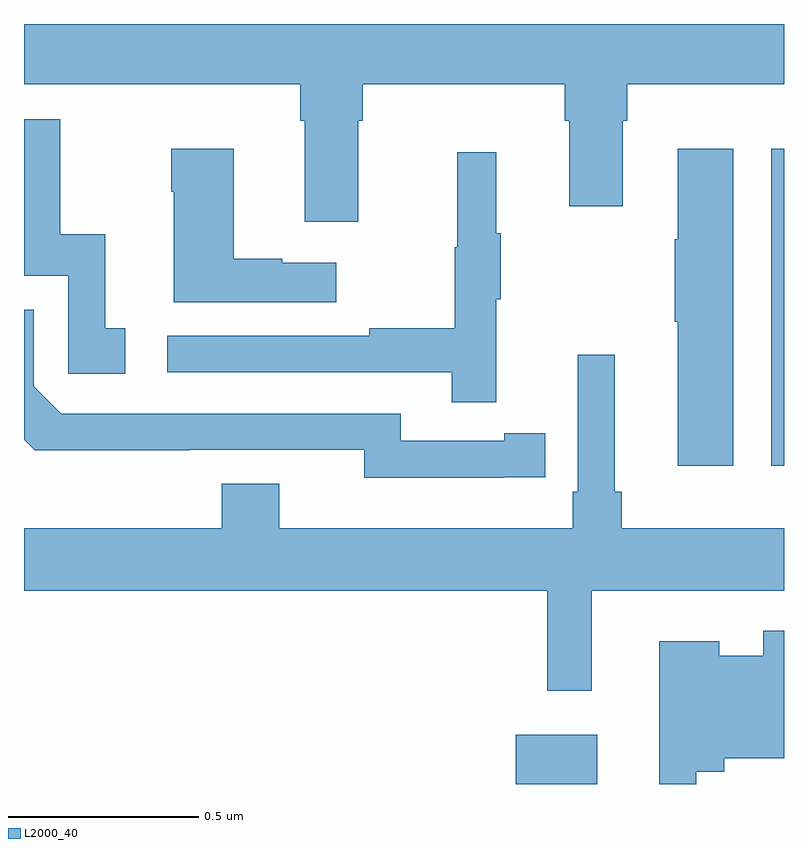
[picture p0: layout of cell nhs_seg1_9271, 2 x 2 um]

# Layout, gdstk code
import gdstk
lib = gdstk.Library(unit=1e-6, precision=1e-09)
def R(c, l, rs):  # rectangles x0, y0, x1, y1
    for r in rs: c.add(gdstk.rectangle(r[:2], r[2:], *l))
def P(c, l, *ps):  # polygons
    for p in ps: c.add(gdstk.Polygon(p, *l))
L2000_40 = (2000, 40)

nhs_seg1_9271 = lib.new_cell('nhs_seg1_9271')
R(nhs_seg1_9271, L2000_40, [(227.294,575.199,227.509,575.329), (227.966,576.036,228,576.871)])
P(nhs_seg1_9271, L2000_40, [(226.879,576.944),(226.892,576.944),(226.892,577.04),(227.423,577.04),(227.423,576.944),(227.435,576.944),(227.435,576.72),(227.575,576.72),(227.575,576.944),(227.588,576.944),(227.588,577.04),(228,577.04),(228,577.199),(226,577.199),(226,577.04),(226.727,577.04),(226.727,576.944),(226.739,576.944),(226.739,576.678),(226.879,576.678)],
  [(226.267,576.399),(226.214,576.399),(226.214,576.646),(226.096,576.646),(226.096,576.948),(226,576.948),(226,576.537),(226.116,576.537),(226.116,576.279),(226.267,576.279)],
  [(226.822,576.571),(226.679,576.571),(226.679,576.581),(226.552,576.581),(226.552,576.871),(226.387,576.871),(226.387,576.758),(226.394,576.758),(226.394,576.467),(226.822,576.467)],
  [(227.866,576.871),(227.72,576.871),(227.72,576.632),(227.713,576.632),(227.713,576.415),(227.72,576.415),(227.72,576.036),(227.866,576.036)],
  [(227.243,576.475),(227.254,576.475),(227.254,576.649),(227.243,576.649),(227.243,576.862),(227.14,576.862),(227.14,576.612),(227.133,576.612),(227.133,576.398),(226.909,576.398),(226.909,576.378),(226.377,576.378),(226.377,576.282),(227.125,576.282),(227.125,576.204),(227.243,576.204)],
  [(227.264,576.006),(227.372,576.006),(227.372,576.122),(227.264,576.122),(227.264,576.102),(226.992,576.102),(226.992,576.174),(226.098,576.174),(226.026,576.246),(226.026,576.447),(226,576.447),(226,576.105),(226.028,576.077),(226.436,576.077),(226.436,576.078),(226.896,576.078),(226.896,576.005),(227.264,576.005)],
  [(227.494,575.708),(228,575.708),(228,575.872),(227.573,575.872),(227.573,575.968),(227.554,575.968),(227.554,576.328),(227.457,576.328),(227.457,575.968),(227.444,575.968),(227.444,575.872),(226.672,575.872),(226.672,575.989),(226.52,575.989),(226.52,575.872),(226,575.872),(226,575.708),(227.377,575.708),(227.377,575.445),(227.494,575.445)],
  [(227.769,575.231),(227.843,575.231),(227.843,575.267),(228,575.267),(228,575.602),(227.946,575.602),(227.946,575.536),(227.83,575.536),(227.83,575.575),(227.672,575.575),(227.672,575.199),(227.769,575.199)])

lib.write_gds('nhs_seg1_9271.gds')
